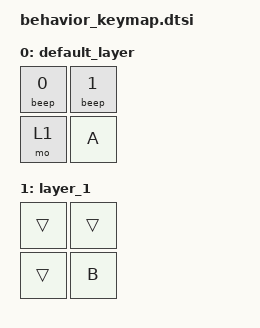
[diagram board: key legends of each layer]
#include <dt-bindings/zmk/keys.h>
#include <behaviors.dtsi>
#include <dt-bindings/zmk/kscan_mock.h>
#include <dt-bindings/pwm/pwm.h>
#include <dt-bindings/zmk/buzzer.h>

/ {
    test_pwm: test_pwm {
        compatible = "zmk,buzzer-test-pwm";
        #pwm-cells = <2>;
    };

    buzzer: buzzer {
        compatible = "zmk,buzzer";
        pwms = <&test_pwm 0 PWM_HZ(1000)>;

        one: one { notes = <NOTE_A5 50>; };
        /* Two notes with a rest between */
        two: two { notes = <NOTE_C6 40 NOTE_REST 30 NOTE_G6 60>; };
        chime: chime { notes = <NOTE_C5 30 NOTE_E5 30>; };
    };

    behaviors {
        beep: buzzer {
            compatible = "zmk,behavior-buzzer";
            #binding-cells = <1>;
            buzzer = <&buzzer>;
        };
    };

    keymap {
        compatible = "zmk,keymap";

        default_layer {
            bindings = <
                &beep 0  &beep 1
                &mo 1    &kp A>;
        };

        layer_1 {
            bindings = <
                &trans  &trans
                &trans  &kp B>;
        };
    };
};
